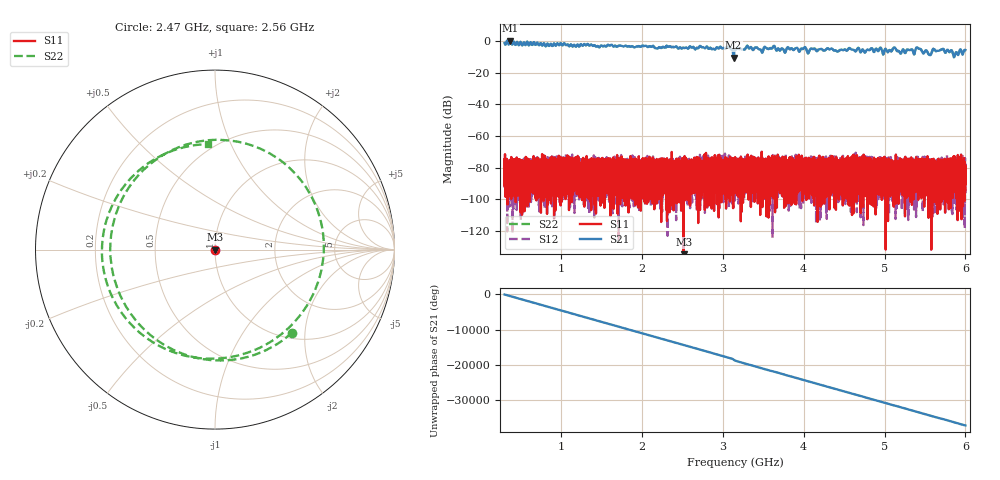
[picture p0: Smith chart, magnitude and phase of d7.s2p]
!Agilent Technologies,N5230C,SG49000117,A.08.50.07
!Agilent N5230C: A.08.50.07
!Date: Sunday, March 17, 2024 02:58:56
!Correction: S11(Off)
!S21(Off)
!S12(Off)
!S22(Off)
!S2P File: Measurements: S11, S21, S12, S22:
# Hz S  RI  R 50
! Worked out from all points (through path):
!   20001 points, 300 MHz to 6 GHz, reference 50 ohm
!   highest |S21| = 0.36 dB at 372.1 MHz (marker M1); lowest = -10.4 dB at 3.132 GHz (marker M2)
!   lowest |S11| = -136.1 dB at 2.515 GHz (marker M3), VSWR 1.00, Z = 50 + j1.43e-06 ohm
!   |S11| at or under -10 dB: start of sweep to end of sweep
!   |S22| runs from -10.4 to 0.4 dB; largest |S21 - S12| = 1
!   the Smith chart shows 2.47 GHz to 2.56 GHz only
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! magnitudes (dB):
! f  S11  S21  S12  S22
! 300 MHz  -77.3  -1.2  -80.9  -1.2
! 372.1 MHz  -85.4  0.4  -76.8  0.4
! 1.25 GHz  -92.2  -2.2  -84.3  -2.1
! 2.2 GHz  -81.9  -4.4  -91.3  -4.4
! 2.515 GHz  -136.1  -4.3  -84.2  -4.3
! 3.067 GHz  -79.3  -4.1  -78.9  -4.1
! 3.132 GHz  -89.4  -10.4  -78.7  -10.4
! 3.15 GHz  -89.6  -5.2  -82.0  -5.2
! 3.317 GHz  -79.6  -4.2  -79.5  -4.2
! 3.472 GHz  -84.6  -5.7  -78.2  -5.7
! 3.621 GHz  -88.1  -3.7  -78.8  -3.7
! 3.761 GHz  -78.6  -6.8  -90.1  -6.7
! 4.1 GHz  -87.3  -4.7  -79.7  -4.6
! 5.05 GHz  -80.8  -6.3  -80.2  -6.3
! 5.121 GHz  -91.3  -4.0  -78.0  -4.0
! 5.182 GHz  -79.8  -6.7  -82.8  -6.7
! 5.356 GHz  -83.6  -7.1  -82.4  -7.2
! 5.415 GHz  -83.5  -4.5  -83.0  -4.5
! 5.556 GHz  -76.5  -8.8  -79.9  -8.9
! 5.71 GHz  -84.1  -5.2  -79.1  -5.3
! 5.878 GHz  -78.7  -7.6  -86.8  -7.6
! 6 GHz  -81.1  -5.7  -80.0  -5.7
